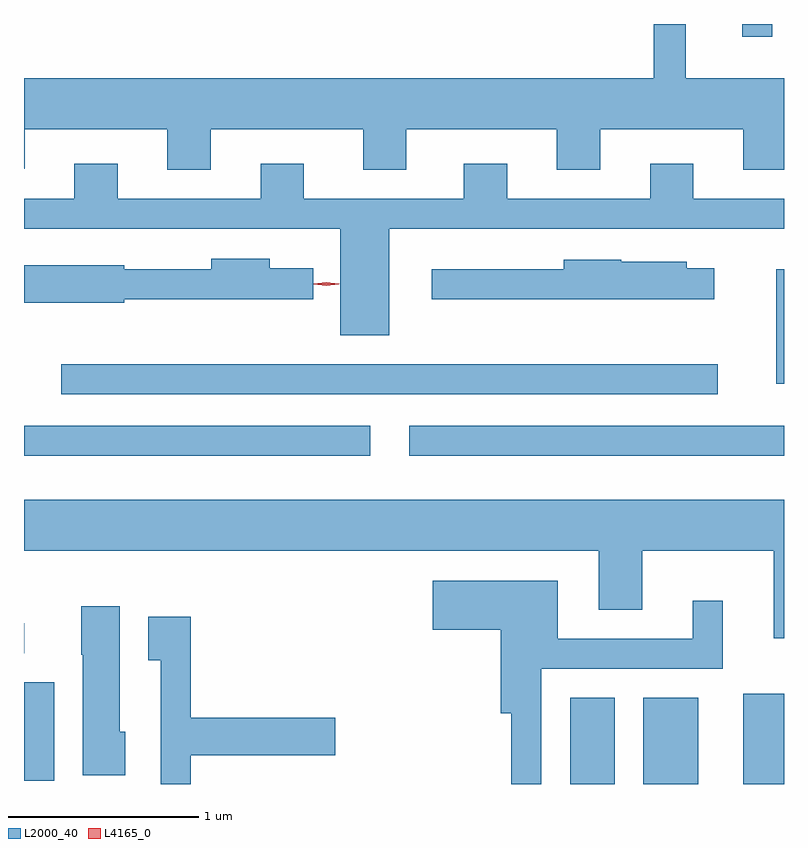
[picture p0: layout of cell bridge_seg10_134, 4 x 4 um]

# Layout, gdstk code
import gdstk
lib = gdstk.Library(unit=1e-6, precision=1e-09)
def R(c, l, rs):  # rectangles x0, y0, x1, y1
    for r in rs: c.add(gdstk.rectangle(r[:2], r[2:], *l))
def P(c, l, *ps):  # polygons
    for p in ps: c.add(gdstk.Polygon(p, *l))
L2000_40 = (2000, 40)
L4165_0 = (4165, 0)

bridge_seg10_134 = lib.new_cell('bridge_seg10_134')
R(bridge_seg10_134, L2000_40, [(1498.441,2143.769,1498.674,2144.224), (1498.826,2143.769,1499.114,2144.224), (1499.351,2143.769,1499.566,2144.244), (1495.566,2143.786,1495.724,2144.304), (1495.566,2144.456,1495.568,2144.614), (1495.566,2145.496,1497.388,2145.654), (1497.593,2145.496,1499.566,2145.654), (1495.763,2145.821,1499.218,2145.979), (1499.526,2145.876,1499.566,2146.479), (1499.346,2147.703,1499.504,2147.769)])
P(bridge_seg10_134, L2000_40, [(1496.549,2147.216),(1497.351,2147.216),(1497.351,2147.001),(1497.579,2147.001),(1497.579,2147.216),(1498.371,2147.216),(1498.371,2147.001),(1498.599,2147.001),(1498.599,2147.216),(1499.351,2147.216),(1499.351,2147.001),(1499.566,2147.001),(1499.566,2147.484),(1499.049,2147.484),(1499.049,2147.769),(1498.881,2147.769),(1498.881,2147.484),(1495.566,2147.484),(1495.566,2147.006),(1495.569,2147.006),(1495.569,2147.216),(1496.321,2147.216),(1496.321,2147.001),(1496.549,2147.001)],
  [(1497.489,2146.691),(1499.566,2146.691),(1499.566,2146.849),(1499.089,2146.849),(1499.089,2147.034),(1498.861,2147.034),(1498.861,2146.849),(1498.109,2146.849),(1498.109,2147.034),(1497.881,2147.034),(1497.881,2146.849),(1497.039,2146.849),(1497.039,2147.034),(1496.811,2147.034),(1496.811,2146.849),(1496.059,2146.849),(1496.059,2147.034),(1495.831,2147.034),(1495.831,2146.849),(1495.566,2146.849),(1495.566,2146.691),(1497.231,2146.691),(1497.231,2146.131),(1497.489,2146.131)],
  [(1496.094,2146.321),(1497.088,2146.321),(1497.088,2146.484),(1496.859,2146.484),(1496.859,2146.534),(1496.551,2146.534),(1496.551,2146.479),(1496.094,2146.479),(1496.094,2146.499),(1495.566,2146.499),(1495.566,2146.301),(1496.094,2146.301)],
  [(1499.198,2146.484),(1499.054,2146.484),(1499.054,2146.519),(1498.71,2146.519),(1498.71,2146.529),(1498.406,2146.529),(1498.406,2146.479),(1497.713,2146.479),(1497.713,2146.321),(1499.198,2146.321)],
  [(1499.566,2145.264),(1495.566,2145.264),(1495.566,2144.996),(1498.591,2144.996),(1498.591,2144.686),(1498.819,2144.686),(1498.819,2144.996),(1499.511,2144.996),(1499.511,2144.536),(1499.566,2144.536)],
  [(1498.289,2144.376),(1499.244,2144.376),(1499.244,2144.733),(1499.086,2144.733),(1499.086,2144.534),(1498.374,2144.534),(1498.374,2144.839),(1497.716,2144.839),(1497.716,2144.581),(1498.076,2144.581),(1498.076,2144.141),(1498.131,2144.141),(1498.131,2143.769),(1498.289,2143.769)],
  [(1496.099,2144.044),(1496.069,2144.044),(1496.069,2144.704),(1495.866,2144.704),(1495.866,2144.45),(1495.876,2144.45),(1495.876,2143.816),(1496.099,2143.816)],
  [(1496.444,2143.921),(1497.204,2143.921),(1497.204,2144.119),(1496.444,2144.119),(1496.444,2144.649),(1496.221,2144.649),(1496.221,2144.421),(1496.286,2144.421),(1496.286,2143.769),(1496.444,2143.769)])
P(bridge_seg10_134, L4165_0, [(1497.157,2146.391),(1497.092,2146.4),(1497.091,2146.401),(1497.092,2146.401),(1497.157,2146.411),(1497.223,2146.401),(1497.224,2146.401),(1497.223,2146.4)])

lib.write_gds('bridge_seg10_134.gds')
